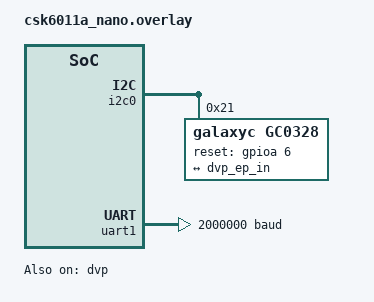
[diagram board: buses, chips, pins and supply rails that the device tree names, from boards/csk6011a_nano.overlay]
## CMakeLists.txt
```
# SPDX-License-Identifier: Apache-2.0

cmake_minimum_required(VERSION 3.20.0)

set(SUPPORT_BOARDS csk6012_nano csk6011a_nano)
if(NOT ${BOARD} IN_LIST SUPPORT_BOARDS)
    message("Please choose one of the following boards:")
    foreach(item ${SUPPORT_BOARDS})
        message(STATUS ${item})
    endforeach()
    message(FATAL_ERROR "\nThe project does not support the ${BOARD}")
endif()

find_package(Zephyr REQUIRED HINTS $ENV{ZEPHYR_BASE})
project(gc0328_dvp)

target_include_directories(app PRIVATE mock)

FILE(GLOB app_sources src/*.c)
add_subdirectory(./webusb)
target_sources(app PRIVATE ${app_sources})
```

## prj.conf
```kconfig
# hardware settings
CONFIG_GPIO=y
CONFIG_I2C=y
CONFIG_VIDEO=y
CONFIG_VIDEO_CSK6_DVP=y
CONFIG_VIDEO_GC0328=y

#log settings
CONFIG_LOG=y
CONFIG_LOG_PRINTK=y

#buffer space settings
CONFIG_VIDEO_BUFFER_POOL_SZ_MAX=800000
CONFIG_VIDEO_CUSTOM_SECTION=y
CONFIG_VIDEO_CUSTOM_SECTION_NAME=".psram_section"
CONFIG_CSK6_PSRAM=y


#
# WEBUSB Config
#
CONFIG_WEBUSB=y
CONFIG_WEBUSB_URL_LISTENAI=y
CONFIG_WEBUSB_DEBUG=y
```

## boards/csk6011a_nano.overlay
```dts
/*
* Copyright (c) 2023 Anhui(Shenzhen) Listenai Co., Ltd.
*
* SPDX-License-Identifier: Apache-2.0
*/
/delete-node/ &psram_ap;
/delete-node/ &psram_share;

&psram0 {
	psram_ap: psram_ap@30600000 {
		compatible = "zephyr,memory-region","listenai,csk6-psram-partition";
		reg = <0x30600000 0x2b0000>;
		status = "okay";
		zephyr,memory-region = "PSRAMAP";


	};
};

&pinctrl {
	pinctrl_uart1_tx_default: uart1_tx_default{
		pinctrls = <UART1_TXD_GPIOA_10>;
	};

	pinctrl_i2c0_scl_default: i2c0_scl_default{
		pinctrls = <I2C0_SCL_GPIOB_04>;
	};

	pinctrl_i2c0_sda_default: i2c0_sda_default{
		pinctrls = <I2C0_SDA_GPIOB_03>;
	};

	pinctrl_dvp_clkout_default: dvp_clkout_default{
		pinctrls = <CLKP_OUT_GPIOA_07>;
	};

	pinctrl_dvp_vsync_default: dvp_vsync_default{
		pinctrls = <I_V_SYNC_GPIOA_14>;
	};

	pinctrl_dvp_hsync_default: dvp_hync_default{
		pinctrls = <I_H_SYNC_GPIOA_13>;
	};

	pinctrl_dvp_pclk_default: dvp_pclk_default{
		pinctrls = <I_PIXEL_CLK_GPIOA_12>;
	};

	pinctrl_dvp_d4_default: dvp_d4_default{
		pinctrls = <I_PIXEL_DATA4_GPIOA_04>;
	};

	pinctrl_dvp_d5_default: dvp_d5_default{
		pinctrls = <I_PIXEL_DATA5_GPIOA_05>;
	};

	pinctrl_dvp_d6_default: dvp_d6_default{
		pinctrls = <I_PIXEL_DATA6_GPIOA_06>;
	};

	pinctrl_dvp_d7_default: dvp_d7_default{
		pinctrls = <I_PIXEL_DATA7_GPIOB_07>;
	};


	pinctrl_dvp_d8_default: dvp_d8_default{
		pinctrls = <I_PIXEL_DATA8_GPIOB_08>;
	};


	pinctrl_dvp_d9_default: dvp_d9_default{
		pinctrls = <I_PIXEL_DATA9_GPIOB_09>;
	};


	pinctrl_dvp_d10_default: dvp_d10_default{
		pinctrls = <I_PIXEL_DATA10_GPIOA_08>;
	};


	pinctrl_dvp_d11_default: dvp_d11_default{
		pinctrls = <I_PIXEL_DATA11_GPIOA_09>;
	};
};

&spi0 {
	status = "disabled";
};

&spi1 {
	status = "disabled";
};

&i2c0 {
	status = "okay";
	pinctrl-0 = <&pinctrl_i2c0_scl_default &pinctrl_i2c0_sda_default>;
	pinctrl-names = "default";

	gc0328: gc0328@21 {
		compatible = "galaxyc,gc0328";
		status = "okay";
		reg = <0x21>;
		reset-gpios = <&gpioa 6 0>;

		port {
			gc0328_ep_out: endpoint {
				remote-endpoint = <&dvp_ep_in>;
			};
		};
	};

};

&uart1 {
	pinctrl-0 = <&pinctrl_uart1_tx_default>;
	pinctrl-names = "default";
	current-speed = <2000000>;
	status = "okay";
};

&dvp {
	status = "okay";
	sensor = <&gc0328>;
	clock-prescaler = <6>;
	data-align-type = "high_align";
	pclk-polarity = "post_edge_sampling";
	hsync-polarity = "active_high";
	vsync-polarity = "active_low";

	pinctrl-0 = <
	&pinctrl_dvp_clkout_default
	&pinctrl_dvp_vsync_default
	&pinctrl_dvp_hsync_default
	&pinctrl_dvp_pclk_default
	&pinctrl_dvp_d4_default
	&pinctrl_dvp_d5_default
	&pinctrl_dvp_d6_default
	&pinctrl_dvp_d7_default
	&pinctrl_dvp_d8_default
	&pinctrl_dvp_d9_default
	&pinctrl_dvp_d10_default
	&pinctrl_dvp_d11_default
	>;
	pinctrl-names = "default";

	port {
		dvp_ep_in: endpoint {
			remote-endpoint = <&gc0328_ep_out>;
		};
	};

};
```

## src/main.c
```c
/*
 * Copyright (c) 2023 Anhui(Shenzhen) Listenai Co., Ltd.
 *
 * SPDX-License-Identifier: Apache-2.0
 */
#include <zephyr/device.h>
#include <zephyr/drivers/video.h>
#include <zephyr/kernel.h>

#include <drivers/csk6_video_extend.h>
// #ifdef CONFIG_WEBUSB_DEBUG
#include "gcl_webusb.h"
#include "gcl_webusb_listenai_protocol.h"
// #endif

#define LOG_LEVEL CONFIG_LOG_DEFAULT_LEVEL
#include <zephyr/logging/log.h>
LOG_MODULE_REGISTER(main);

// #define MOCK_IMAGE 			(1)
#ifdef MOCK_IMAGE
#include "input_640x480.h"
#include "output.h"
#endif

#define VBUF_NUM	 2
#define IMAGE_HEIGHT	 480
#define IMAGE_WIDTH	 640
#define PIXEL_BYTES_SIZE 2
#define IMAGE_SIZE	 (IMAGE_WIDTH * IMAGE_HEIGHT * PIXEL_BYTES_SIZE)

// #define USE_SERIAL_PROTOCOL (1)

#define WEBUSB_IMAGE_DOWNSAMPLING (1) // 缩小倍数

#ifdef WEBUSB_IMAGE_DOWNSAMPLING

#define WEBUSB_IMAGE_SCALE (1.0f / WEBUSB_IMAGE_DOWNSAMPLING)
#define RESAMPLE_HEIGHT	   (IMAGE_HEIGHT / WEBUSB_IMAGE_DOWNSAMPLING)
#define RESAMPLE_WIDTH	   (IMAGE_HEIGHT / WEBUSB_IMAGE_DOWNSAMPLING)

static uint8_t resample_img[IMAGE_WIDTH * IMAGE_HEIGHT * 2]
	__attribute__((section(".psram_section")));

void downsample(unsigned char *input_image, unsigned char *output_image, uint32_t img_w,
		uint32_t img_h, uint8_t downsampling, uint8_t alg_type)
{
	uint32_t new_w = img_w / downsampling;
	uint32_t new_h = img_h / downsampling;

	if (alg_type == 0) {
		// Nearest neighbor algorithm
		for (uint32_t y = 0; y < new_h; ++y) {
			for (uint32_t x = 0; x < new_w; ++x) {
				uint32_t input_idx =
					(y * downsampling * img_w + x * downsampling) * 2;
				uint32_t output_idx = (y * new_w + x) * 2;
				output_image[output_idx] = input_image[input_idx];	   // V
				output_image[output_idx + 1] = input_image[input_idx + 1]; // Y
				output_image[output_idx + 2] = input_image[input_idx + 2]; // U
				output_image[output_idx + 3] = input_image[input_idx + 3]; // Y
			}
		}
	} else if (alg_type == 1) {
		// Averaging algorithm
		for (uint32_t y = 0; y < new_h; ++y) {
			for (uint32_t x = 0; x < new_w; ++x) {
				uint32_t output_idx = (y * new_w + x) * 2;
				uint32_t sum_v = 0, sum_y1 = 0, sum_u = 0, sum_y2 = 0;

				for (uint8_t dy = 0; dy < downsampling; ++dy) {
					for (uint8_t dx = 0; dx < downsampling; ++dx) {
						uint32_t input_idx =
							((y * downsampling + dy) * img_w +
							 x * downsampling + dx) *
							2;

						sum_v += input_image[input_idx];
						sum_y1 += input_image[input_idx + 1];
						sum_u += input_image[input_idx + 2];
						sum_y2 += input_image[input_idx + 3];
					}
				}

				output_image[output_idx] = sum_v / (downsampling * downsampling);
				output_image[output_idx + 1] =
					sum_y1 / (downsampling * downsampling);
				output_image[output_idx + 2] =
					sum_u / (downsampling * downsampling);
				output_image[output_idx + 3] =
					sum_y2 / (downsampling * downsampling);
			}
		}
	} else if (alg_type == 2) {

		// 2 bytes per pixel.
		int pos = 0;
		// Process every other line.
		for (int pixelY = 0; pixelY < img_h; pixelY += downsampling) {
			// Work in blocks of 2 pixels, we discard the second.
			for (int pixelX = 0; pixelX < img_w; pixelX += 2 * downsampling) {
				// Position of pixel bytes.
				int start = ((pixelY * img_w) + pixelX) * 2;

				output_image[pos] = input_image[start];
				output_image[pos + 1] = input_image[start + 1];
				output_image[pos + 2] = input_image[start + 2];
				output_image[pos + 3] = input_image[start + 3];

				pos += 4;
			}
		}
	}
}

#endif

const struct device *video;

extern int frame_send(uint8_t *frameBuf, uint16_t width, uint16_t height, uint8_t mode);

int calculate_fps(struct video_buffer *vbuf)
{
	static uint32_t last_timestamp = 0;
	int fps;

	fps = vbuf->timestamp - last_timestamp ? 1000 / (vbuf->timestamp - last_timestamp) : 0;

	last_timestamp = vbuf->timestamp;

	return fps;
}

static void webusb_send_img(uint8_t *data, int width, int height, float scale)
{
	img_info_t img_info;
	uint32_t data_len;

	img_info.width = width;
	img_info.height = height;
	img_info.format = FORMAT_VYUY_422;
	img_info.scale = scale;

	webusb_gcl_send_image_info(img_info);

	uint32_t dst_width = width;
	uint32_t dst_height = height;
	data_len = dst_width * dst_height * 2;
	if (resample_img != NULL) {
		if (webusb_gcl_send_bitmap(resample_img, data_len) < 0) {
			LOG_WRN("send_bitmap FAILED.");
		}
	}
}

void main(void)
{
	struct video_buffer *buffers[VBUF_NUM], *vbuf;
	struct video_format fmt;
	struct video_caps caps;
	unsigned int frame = 0;
	size_t bsize;
	int i = 0;
	int ret = 0;

	ret = webusb_gcl_init();
#if !CONFIG_USB_DEVICE_INITIALIZE_AT_BOOT
	ret = usb_enable(NULL);
	if (ret != 0) {
		LOG_ERR("Failed to enable USB");
		return;
	}

	LOG_INF("The device is put in USB mass storage mode.\n");
#endif

	video = DEVICE_DT_GET(DT_NODELABEL(dvp));

	if (video == NULL) {
		LOG_ERR("Video device %s not found, "
			"fallback to software generator.",
			"dvp");

		return;
	}

	printk("- Device name: %s\n", "dvp");

	// /* Get capabilities */
	if (video_get_caps(video, VIDEO_EP_OUT, &caps)) {
		LOG_ERR("Unable to retrieve video capabilities");
		return;
	}

	printk("- Capabilities:\n");
	while (caps.format_caps[i].pixelformat) {
		const struct video_format_cap *fcap = &caps.format_caps[i];
		/* fourcc to string */
		printk("  %c%c%c%c width [%u; %u; %u] height [%u; %u; %u]\n",
		       (char)fcap->pixelformat, (char)(fcap->pixelformat >> 8),
		       (char)(fcap->pixelformat >> 16), (char)(fcap->pixelformat >> 24),
		       fcap->width_min, fcap->width_max, fcap->width_step, fcap->height_min,
		       fcap->height_max, fcap->height_step);
		i++;
	}

	fmt.pixelformat = VIDEO_PIX_FMT_VYUY;
	fmt.width = IMAGE_WIDTH;
	fmt.height = IMAGE_HEIGHT;
	fmt.pitch = fmt.width * PIXEL_BYTES_SIZE;
	if (video_set_format(video, VIDEO_EP_OUT, &fmt)) {
		LOG_ERR("Unable to set video format");
		return;
	}

	/* Size to allocate for each buffer */
	bsize = fmt.height * fmt.pitch;

	/* Alloc video buffers and enqueue for capture */
	for (i = 0; i < ARRAY_SIZE(buffers); i++) {
		LOG_INF("Alloc vide buffer: %d\n", bsize);
		buffers[i] = video_buffer_alloc(bsize);
		if (buffers[i] == NULL) {
			LOG_ERR("Unable to alloc video buffer");
			return;
		}

		video_enqueue(video, VIDEO_EP_OUT, buffers[i]);
	}

	/* Start video capture */
	if (video_stream_start(video)) {
		LOG_ERR("Unable to start capture (interface)");
		return;
	}
#ifdef MOCK_IMAGE
	// uint32_t dst_width = 512 * WEBUSB_IMAGE_SCALE;
	// uint32_t dst_height = 512 * WEBUSB_IMAGE_SCALE;
	while (1) {
		k_sleep(K_MSEC(100));
		printk("frame %d\n", frame++);

		// frame_send(lenna_yuv422_data, 128,128, 0);

		downsample(lenna_yuv422_data, resample_img, 128, 128, 2, 1);
		if (webusb_has_configured()) {
			webusb_send_img(resample_img, 128 / 2, 128 / 2, 1);
		}
		downsample(lenna_yuv422_data, resample_img, 128, 128, 2, 1);
		if (webusb_has_configured()) {
			webusb_send_img(resample_img, 128 / 2, 128 / 2, 1);
		}
	}
#endif
	/* Grab video frames */
	while (1) {
		int err;
		err = video_dequeue(video, VIDEO_EP_OUT, &vbuf, K_FOREVER);
		if (err) {
			LOG_ERR("Unable to dequeue video buf");
			return;
		}

#ifdef WEBUSB_IMAGE_DOWNSAMPLING
		uint32_t dst_width = IMAGE_WIDTH * WEBUSB_IMAGE_SCALE;
		uint32_t dst_height = IMAGE_HEIGHT * WEBUSB_IMAGE_SCALE;
		downsample(vbuf->buffer, resample_img, IMAGE_WIDTH, IMAGE_HEIGHT,
			   WEBUSB_IMAGE_DOWNSAMPLING, 0);
#if USE_SERIAL_PROTOCOL
		frame_send(resample_img, dst_width, dst_height, 0);
#endif
		if (webusb_has_configured()) {
			webusb_send_img(resample_img, dst_width, dst_height, 1);
		}
#else
		if (webusb_has_configured()) {
			webusb_send_img(vbuf->buffer, IMAGE_WIDTH, IMAGE_HEIGHT, 1);
		}
#endif

		LOG_INF("Got frame %u! size: %u; timestamp %u ms fps %d", frame++, vbuf->bytesused,
			vbuf->timestamp, calculate_fps(vbuf));
		// k_sleep(K_MSEC(1000));
		err = video_enqueue(video, VIDEO_EP_OUT, vbuf);
		if (err) {
			LOG_ERR("Unable to requeue video buf");
			return;
		}
	}
}
```
